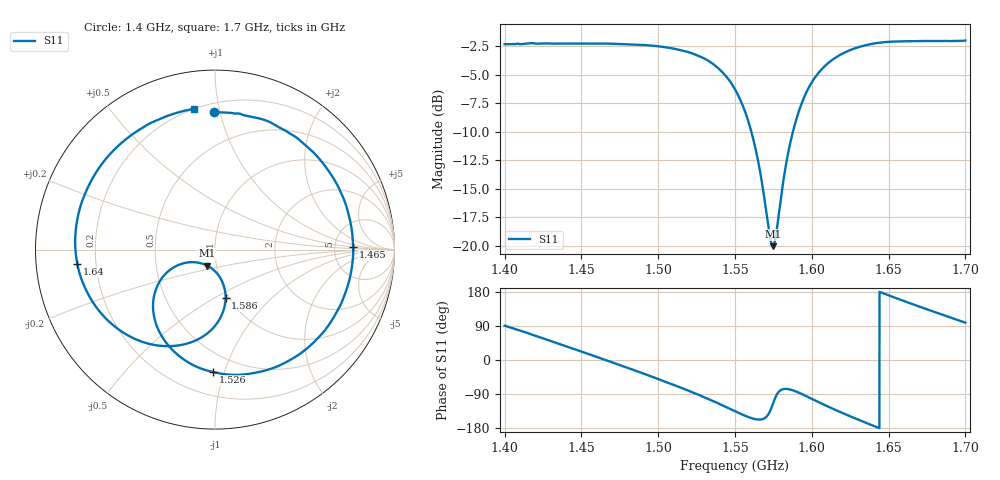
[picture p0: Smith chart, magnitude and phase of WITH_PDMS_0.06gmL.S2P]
!Keysight Technologies,E5063A,MY54503975,A.05.08
!Date: Fri Mar 07 04:37:00 2025
!Data & Calibration Information:
!Freq	S11:NONE(--)	S21:RESPT(ON)	S12:NONE(--)	S22:NONE(--)
# Hz S RI R 50
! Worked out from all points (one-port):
!   3001 points, 1.4 GHz to 1.7 GHz, reference 50 ohm
!   lowest |S11| = -20.1 dB at 1.575 GHz (marker M1), VSWR 1.22, Z = 45 - j8.08 ohm
!   |S11| at or under -10 dB: 1.561 GHz to 1.588 GHz (27.08 MHz wide, 1.72 % of centre)
!   S11 on the Smith chart (normalised r, x): 1.4 GHz: 0.26, +0.96; 1.465 GHz: 7.65, +0.58; 1.526 GHz: 0.36, -0.92; 1.586 GHz: 0.97, -0.56; 1.64 GHz: 0.13, -0.05; 1.7 GHz: 0.20, +0.84
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1.4e9  -0.00754 0.7653  -0 -0  0 0  0 0
1.4236e9  0.3964 0.6606  0 -0  0 0  0 0
1.45e9  0.7134 0.2915  -0 0  0 0  0 0
1.4649e9  0.7698 0.0153  -0 0  0 0  0 0
1.4822e9  0.6993 -0.3081  -0 0  0 0  0 0
1.5e9  0.48 -0.5758  0 -0  0 0  0 0
1.5131e9  0.2427 -0.6825  0 0  0 0  0 0
1.5257e9  -0.0111 -0.6822  0 0  0 0  0 0
1.5397e9  -0.2576 -0.5367  0 0  0 0  0 0
1.55e9  -0.344 -0.3418  0 -0  0 0  0 0
1.562e9  -0.2636 -0.1234  0 0  0 0  0 0
1.5746e9  -0.0447 -0.0888  0 0  0 0  0 0
1.5856e9  0.0589 -0.2684  0 0  0 0  0 0
1.6e9  -0.1127 -0.5084  0 -0  0 0  0 0
1.6083e9  -0.2935 -0.5369  0 -0  0 0  0 0
1.6173e9  -0.4827 -0.4794  -0 0  0 0  0 0
1.6291e9  -0.6721 -0.3059  -0 0  0 0  0 0
1.6404e9  -0.7671 -0.0792  -0 -0  0 0  0 0
1.65e9  -0.7738 0.1268  -0 -0  0 0  0 0
1.6628e9  -0.6933 0.3767  -0 -0  0 0  0 0
1.6762e9  -0.5287 0.5876  -0 -0  0 0  0 0
1.7e9  -0.1184 0.7861  -0 -0  0 0  0 0
